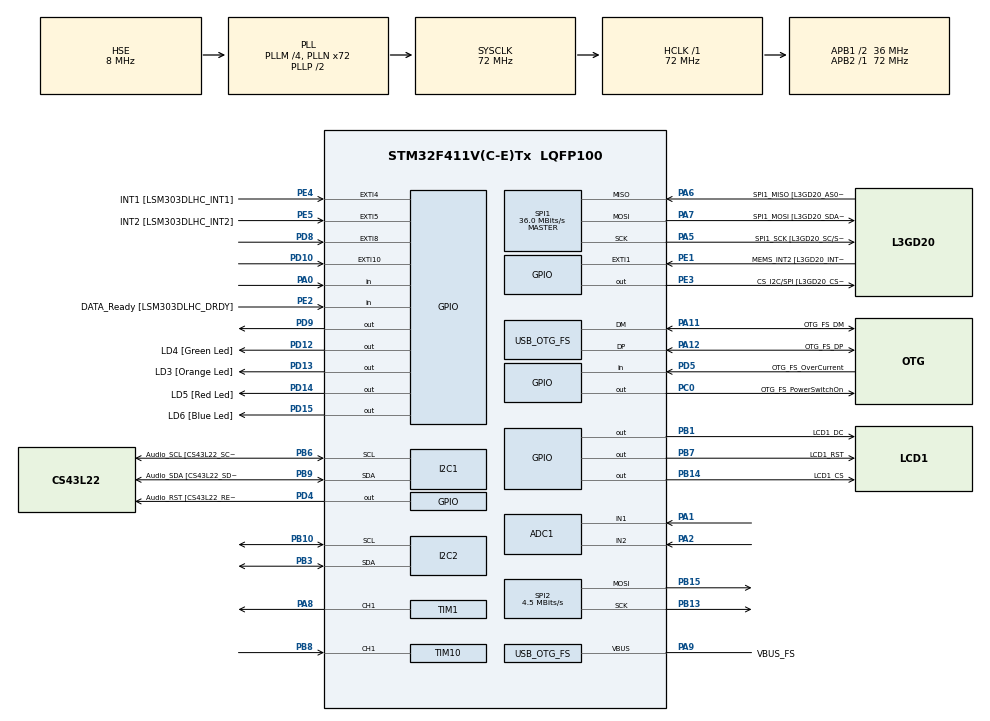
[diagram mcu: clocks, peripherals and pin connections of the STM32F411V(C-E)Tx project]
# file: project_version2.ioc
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ADC1.Channel-0\#ChannelRegularConversion=ADC_CHANNEL_1
ADC1.Channel-1\#ChannelRegularConversion=ADC_CHANNEL_2
ADC1.ContinuousConvMode=ENABLE
ADC1.NbrOfConversion=2
ADC1.NbrOfConversionFlag=1
ADC1.Rank-0\#ChannelRegularConversion=1
ADC1.Rank-1\#ChannelRegularConversion=2
ADC1.SamplingTime-0\#ChannelRegularConversion=ADC_SAMPLETIME_480CYCLES
ADC1.SamplingTime-1\#ChannelRegularConversion=ADC_SAMPLETIME_480CYCLES
ADC1.master=1
Dma.ADC1.1.Direction=DMA_PERIPH_TO_MEMORY
Dma.ADC1.1.FIFOMode=DMA_FIFOMODE_DISABLE
Dma.ADC1.1.Instance=DMA2_Stream0
Dma.ADC1.1.MemDataAlignment=DMA_MDATAALIGN_WORD
Dma.ADC1.1.MemInc=DMA_MINC_ENABLE
Dma.ADC1.1.Mode=DMA_CIRCULAR
Dma.ADC1.1.PeriphDataAlignment=DMA_PDATAALIGN_WORD
Dma.ADC1.1.PeriphInc=DMA_PINC_DISABLE
Dma.ADC1.1.Priority=DMA_PRIORITY_LOW
Dma.Request0=TIM1_CH1
Dma.Request1=ADC1
Dma.TIM1_CH1.0.Direction=DMA_MEMORY_TO_PERIPH
Dma.TIM1_CH1.0.FIFOMode=DMA_FIFOMODE_DISABLE
Dma.TIM1_CH1.0.Instance=DMA2_Stream1
Dma.TIM1_CH1.0.MemDataAlignment=DMA_MDATAALIGN_HALFWORD
Dma.TIM1_CH1.0.MemInc=DMA_MINC_ENABLE
Dma.TIM1_CH1.0.Mode=DMA_NORMAL
Dma.TIM1_CH1.0.PeriphDataAlignment=DMA_PDATAALIGN_HALFWORD
Dma.TIM1_CH1.0.PeriphInc=DMA_PINC_DISABLE
Dma.TIM1_CH1.0.Priority=DMA_PRIORITY_LOW
Mcu.Family=STM32F4
Mcu.Name=STM32F411V(C-E)Tx
Mcu.Package=LQFP100
NVIC.DMA2_Stream0_IRQn=true\:0\:0\:false\:false\:true\:false\:true
NVIC.DMA2_Stream1_IRQn=true\:0\:0\:false\:false\:true\:false\:true
NVIC.EXTI9_5_IRQn=true\:0\:0\:false\:false\:true\:true\:true
NVIC.OTG_FS_IRQn=true\:0\:0\:false\:false\:true\:true\:true
NVIC.PriorityGroup=NVIC_PRIORITYGROUP_0
NVIC.TIM1_UP_TIM10_IRQn=true\:0\:0\:false\:false\:true\:true\:true
PA0-WKUP.Signal=GPIO_Input
PA1.Signal=ADCx_IN1
PA10.GPIO_Label=OTG_FS_ID
PA10.Signal=USB_OTG_FS_ID
PA11.GPIO_Label=OTG_FS_DM
PA11.Mode=Host_Only
PA11.Signal=USB_OTG_FS_DM
PA12.GPIO_Label=OTG_FS_DP
PA12.Mode=Host_Only
PA12.Signal=USB_OTG_FS_DP
PA13.GPIO_Label=SWDIO
PA13.Mode=Serial_Wire
PA13.Signal=SYS_JTMS-SWDIO
PA14.GPIO_Label=SWCLK
PA14.Mode=Serial_Wire
PA14.Signal=SYS_JTCK-SWCLK
PA2.Signal=ADCx_IN2
PA4.GPIO_Label=I2S3_WS [CS43L22_LRCK]
PA4.GPIO_Mode=GPIO_MODE_AF_PP
PA4.GPIO_PuPd=GPIO_NOPULL
PA4.GPIO_Speed=GPIO_SPEED_FREQ_LOW
PA4.Signal=I2S3_WS
PA5.GPIO_Label=SPI1_SCK [L3GD20_SC/SPC]
PA5.Mode=Full_Duplex_Master
PA5.Signal=SPI1_SCK
PA6.GPIO_Label=SPI1_MISO [L3GD20_AS0/SDO]
PA6.Mode=Full_Duplex_Master
PA6.Signal=SPI1_MISO
PA7.GPIO_Label=SPI1_MOSI [L3GD20_SDA/SDI/SDO]
PA7.Mode=Full_Duplex_Master
PA7.Signal=SPI1_MOSI
PA8.Signal=S_TIM1_CH1
PA9.GPIO_Label=VBUS_FS
PA9.Mode=Activate_VBUS
PA9.Signal=USB_OTG_FS_VBUS
PB1.GPIO_Label=LCD1_DC
PB1.Signal=GPIO_Output
PB10.Mode=I2C
PB10.Signal=I2C2_SCL
PB13.Mode=TX_Only_Simplex_Unidirect_Master
PB13.Signal=SPI2_SCK
PB14.GPIO_Label=LCD1_CS
PB14.Signal=GPIO_Output
PB15.Mode=TX_Only_Simplex_Unidirect_Master
PB15.Signal=SPI2_MOSI
PB3.Mode=I2C
PB3.Signal=I2C2_SDA
PB6.GPIO_Label=Audio_SCL [CS43L22_SCL]
PB6.GPIO_Mode=GPIO_MODE_AF_OD
PB6.GPIO_Pu=GPIO_PULLUP
PB6.GPIO_PuPd=GPIO_NOPULL
PB6.GPIO_Speed=GPIO_SPEED_FREQ_LOW
PB6.Mode=I2C
PB6.Signal=I2C1_SCL
PB7.GPIO_Label=LCD1_RST
PB7.Signal=GPIO_Output
PB8.Signal=S_TIM10_CH1
PB9.GPIO_Label=Audio_SDA [CS43L22_SDA]
PB9.GPIO_Mode=GPIO_MODE_AF_OD
PB9.GPIO_Pu=GPIO_PULLUP
PB9.GPIO_PuPd=GPIO_NOPULL
PB9.GPIO_Speed=GPIO_SPEED_FREQ_LOW
PB9.Mode=I2C
PB9.Signal=I2C1_SDA
PC0.GPIO_Label=OTG_FS_PowerSwitchOn
PC0.PinState=GPIO_PIN_SET
PC0.Signal=GPIO_Output
PC10.GPIO_Label=I2S3_SCK [CS43L22_SCLK]
PC10.GPIO_Mode=GPIO_MODE_AF_PP
PC10.GPIO_PuPd=GPIO_NOPULL
PC10.GPIO_Speed=GPIO_SPEED_FREQ_LOW
PC10.Signal=I2S3_CK
PC12.GPIO_Label=I2S3_SD [CS43L22_SDIN]
PC12.GPIO_Mode=GPIO_MODE_AF_PP
PC12.GPIO_PuPd=GPIO_NOPULL
PC12.GPIO_Speed=GPIO_SPEED_FREQ_LOW
PC12.Signal=I2S3_SD
PC14-OSC32_IN.GPIO_Label=PC14-OSC32_IN
PC14-OSC32_IN.Mode=LSE-External-Oscillator
PC14-OSC32_IN.Signal=RCC_OSC32_IN
PC15-OSC32_OUT.GPIO_Label=PC15-OSC32_OUT
PC15-OSC32_OUT.Mode=LSE-External-Oscillator
PC15-OSC32_OUT.Signal=RCC_OSC32_OUT
PC3.GPIO_Label=PDM_OUT [MP45DT02_DOUT]
PC3.Signal=I2S2_SD
PC7.GPIO_Label=I2S3_MCK [CS43L22_MCLK]
PC7.GPIO_Mode=GPIO_MODE_AF_PP
PC7.GPIO_PuPd=GPIO_NOPULL
PC7.GPIO_Speed=GPIO_SPEED_FREQ_LOW
PC7.Signal=I2S3_MCK
PD10.Signal=GPXTI10
PD12.GPIO_Label=LD4 [Green Led]
PD12.GPIO_PuPd=GPIO_NOPULL
PD12.GPIO_Speed=GPIO_SPEED_FREQ_LOW
PD12.Signal=GPIO_Output
PD13.GPIO_Label=LD3 [Orange Led]
PD13.GPIO_PuPd=GPIO_NOPULL
PD13.GPIO_Speed=GPIO_SPEED_FREQ_LOW
PD13.Signal=GPIO_Output
PD14.GPIO_Label=LD5 [Red Led]
PD14.GPIO_PuPd=GPIO_NOPULL
PD14.GPIO_Speed=GPIO_SPEED_FREQ_LOW
PD14.Signal=GPIO_Output
PD15.GPIO_Label=LD6 [Blue Led]
PD15.GPIO_PuPd=GPIO_NOPULL
PD15.GPIO_Speed=GPIO_SPEED_FREQ_LOW
PD15.Signal=GPIO_Output
PD4.GPIO_Label=Audio_RST [CS43L22_RESET]
PD4.Signal=GPIO_Output
PD5.GPIO_Label=OTG_FS_OverCurrent
PD5.Signal=GPIO_Input
PD8.Signal=GPXTI8
PD9.Signal=GPIO_Output
PE1.GPIO_Label=MEMS_INT2 [L3GD20_INT2]
PE1.GPIO_ModeDefaultEXTI=GPIO_MODE_EVT_RISING
PE1.Signal=GPXTI1
PE2.GPIO_Label=DATA_Ready [LSM303DLHC_DRDY]
PE2.Signal=GPIO_Input
PE3.GPIO_Label=CS_I2C/SPI [L3GD20_CS_I2C/SPI]
PE3.Signal=GPIO_Output
PE4.GPIO_Label=INT1 [LSM303DLHC_INT1]
PE4.GPIO_ModeDefaultEXTI=GPIO_MODE_EVT_RISING
PE4.Signal=GPXTI4
PE5.GPIO_Label=INT2 [LSM303DLHC_INT2]
PE5.GPIO_ModeDefaultEXTI=GPIO_MODE_EVT_RISING
PE5.Signal=GPXTI5
PH0\ -\ OSC_IN.GPIO_Label=PH0-OSC_IN
PH0\ -\ OSC_IN.Mode=HSE-External-Oscillator
PH0\ -\ OSC_IN.Signal=RCC_OSC_IN
PH1\ -\ OSC_OUT.GPIO_Label=PH1-OSC_OUT
PH1\ -\ OSC_OUT.Mode=HSE-External-Oscillator
PH1\ -\ OSC_OUT.Signal=RCC_OSC_OUT
ProjectManager.HeapSize=0x200
ProjectManager.StackSize=0x400
ProjectManager.TargetToolchain=STM32CubeIDE
RCC.48MHZClocksFreq_Value=48000000
RCC.AHBFreq_Value=72000000
RCC.APB1CLKDivider=RCC_HCLK_DIV2
RCC.APB1Freq_Value=36000000
RCC.APB1TimFreq_Value=72000000
RCC.APB2Freq_Value=72000000
RCC.APB2TimFreq_Value=72000000
RCC.CortexFreq_Value=72000000
RCC.HCLKFreq_Value=72000000
RCC.HSE_VALUE=8000000
RCC.HSI_VALUE=16000000
RCC.PLLI2SM=5
RCC.PLLI2SN=200
RCC.PLLM=4
RCC.PLLN=72
RCC.PLLQ=3
RCC.SYSCLKFreq_VALUE=72000000
RCC.SYSCLKSource=RCC_SYSCLKSOURCE_PLLCLK
RCC.VCOOutputFreq_Value=144000000
SH.ADCx_IN1.0=ADC1_IN1,IN1
SH.ADCx_IN2.0=ADC1_IN2,IN2
SH.S_TIM10_CH1.0=TIM10_CH1,Input_Capture1_from_TI1
SH.S_TIM1_CH1.0=TIM1_CH1,PWM Generation1 CH1
SPI1.BaudRatePrescaler=SPI_BAUDRATEPRESCALER_2
SPI1.CalculateBaudRate=36.0 MBits/s
SPI1.Direction=SPI_DIRECTION_2LINES
SPI1.Mode=SPI_MODE_MASTER
SPI1.VirtualType=VM_MASTER
SPI2.BaudRatePrescaler=SPI_BAUDRATEPRESCALER_8
SPI2.CalculateBaudRate=4.5 MBits/s
SPI2.Direction=SPI_DIRECTION_2LINES
SPI2.Mode=SPI_MODE_MASTER
SPI2.VirtualType=VM_MASTER
TIM1.Channel-PWM\ Generation1\ CH1=TIM_CHANNEL_1
TIM1.Period=90-1
TIM10.Channel=TIM_CHANNEL_1
TIM10.Prescaler=71
USB_HOST.BSP.number=1
USB_HOST.USBH_HandleTypeDef=hUsbHostFS
USB_HOST.VirtualModeFS=Cdc
USB_HOST0.BSP.STBoard=false
USB_HOST0.BSP.api=Unknown
USB_HOST0.BSP.i2caddr=0
USB_HOST0.BSP.i2creg=0
USB_HOST0.BSP.instance=PC0
USB_HOST0.BSP.ip=GPIO
USB_HOST0.BSP.mode=Output
USB_HOST0.BSP.name=Drive_VBUS_FS
USB_HOST0.BSP.solution=PC0
USB_OTG_FS.VirtualMode=Host_Only
USB_OTG_FS.phy_itface=HCD_PHY_EMBEDDED
VP_TIM10_VS_ClockSourceINT.Mode=Enable_Timer
VP_TIM1_VS_ClockSourceINT.Mode=Internal
VP_USB_HOST_VS_USB_HOST_CDC_FS.Mode=CDC_FS
board=STM32F411E-DISCO

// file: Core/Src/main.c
/* USER CODE BEGIN Header */
/**
  ******************************************************************************
  * @file           : main.c
  * @brief          : Main program body
  ******************************************************************************
  * @attention
  *
  * <h2><center>&copy; Copyright (c) 2021 STMicroelectronics.
  * All rights reserved.</center></h2>
  *
  * This software component is licensed by ST under Ultimate Liberty license
  * SLA0044, the "License"; You may not use this file except in compliance with
  * the License. You may obtain a copy of the License at:
  *                             www.st.com/SLA0044
  *
  ******************************************************************************
  */
/* USER CODE END Header */
#include "main.h"
#include "adc.h"
#include "dma.h"
#include "i2c.h"
#include "spi.h"
#include "tim.h"
#include "usb_host.h"
#include "gpio.h"

/* USER CODE BEGIN Includes */
#include "math.h"
#include <stdbool.h>
#include "lcd5110.h"
#include "stm32f411e_discovery_accelerometer.h"
#include "stm32f411e_discovery_gyroscope.h"
#include "stm32f411e_discovery.h"

/* USER CODE END Includes */

void SystemClock_Config(void);
void MX_USB_HOST_Process(void);

/* USER CODE BEGIN PFP */
volatile int fall_down = 0;
volatile int light = 0;
volatile int pressed = 0;
volatile int button_is_pressed = 0;
volatile int loop_counter = 0;
/* USER CODE END PFP */

/* USER CODE BEGIN 0 */
#define MAX_LED 30
#define USE_BRIGHTNESS 0
#define ACCEL_ERROR 0.26; // to calibrate another accelerometer

// bounds when turn lights trigger
#define RX_ACTIVE_BOUND 0.82
#define RZ_ACTIVE_BOUND 0.82
#define LX_ACTIVE_BOUND 0.82
#define LZ_ACTIVE_BOUND 0.82

// accelerometer register map
#define MPU6050_ADDR 0xD0
#define SMPLRT_DIV_REG 0x19
#define GYRO_CONFIG_REG 0x1B
#define ACCEL_CONFIG_REG 0x1C
#define ACCEL_XOUT_H_REG 0x3B
#define TEMP_OUT_H_REG 0x41
#define GYRO_XOUT_H_REG 0x43
#define PWR_MGMT_1_REG 0x6B
#define WHO_AM_I_REG 0x75

LCD5110_display lcd1;
volatile uint32_t tim10_overflows = 0;

// final accelerometers results
volatile float Rx, Ry, Rz;
volatile float Lx, Ly, Lz;

// stm internal accelerometer measures
double Fall_Down_X = 0;
double Fall_Down_Y = 0;
double Fall_Down_Z = 0;

int datasentflag=0;
uint8_t LED_Data[MAX_LED][4];
uint8_t LED_Mod[MAX_LED][4];

int16_t Accel_X_RAW_R = 0;
int16_t Accel_Y_RAW_R = 0;
int16_t Accel_Z_RAW_R = 0;

int16_t Accel_X_RAW_L = 0;
int16_t Accel_Y_RAW_L = 0;
int16_t Accel_Z_RAW_L = 0;

void HAL_GPIO_EXTI_Callback(uint16_t GPIO_Pin) {
 if (GPIO_Pin == GPIO_PIN_8) { // button on the case handling

  static uint32_t last_change_tick;
  if (HAL_GetTick() - last_change_tick < 50) {
	  return;
  }

  last_change_tick = HAL_GetTick();

  if (fall_down == 0) {
	  if (button_is_pressed) {

		  button_is_pressed = 0;
		  ++pressed;
		  if (light == -1) {
			  light = 0;
		  } else {
			  light = -1;
		  }
	  } else {
		  button_is_pressed = 1;
	  }
  }

  if (fall_down) {
	  fall_down = 0;
  }
 }
}

void HAL_TIM_PeriodElapsedCallback(TIM_HandleTypeDef *htim) {
  if (htim -> Instance == TIM10) {
	  // read accelerometers on timer tick
	  MPU6050_Read_Accel_L(); // LEFT hand accelerometer
	  MPU6050_Read_Accel_R(); // RIGHT hand accelerometer
	  show_accelerometer(); // inner accelerometer
  }
}

static inline void TIM10_reinit() {
	HAL_TIM_Base_Stop(&htim10);
	__HAL_TIM_SET_COUNTER( &htim10, 0 );
	tim10_overflows = 0;
	HAL_TIM_Base_Start_IT(&htim10);
}

static inline uint32_t get_tim10_us() {
	__HAL_TIM_DISABLE_IT(&htim10, TIM_IT_UPDATE);
	uint32_t res = tim10_overflows * 10000 + __HAL_TIM_GET_COUNTER(&htim10);
	__HAL_TIM_ENABLE_IT(&htim10, TIM_IT_UPDATE);
	return res;
}

static inline void udelay_TIM10(uint32_t useconds) {
	uint32_t before = get_tim10_us();

	while( get_tim10_us() < before+useconds){}
}

void HAL_TIM_PWM_PulseFinishedCallback(TIM_HandleTypeDef *htim) {  // callback when dma finished data transfering

	HAL_TIM_PWM_Stop_DMA(&htim1, TIM_CHANNEL_1);  // stop dma, when data transfering has finished
	datasentflag = 1;
}

void Set_LED (int LEDnum, int Red, int Green, int Blue) {
	LED_Data[LEDnum][0] = LEDnum;
	LED_Data[LEDnum][1] = Green;
	LED_Data[LEDnum][2] = Red;
	LED_Data[LEDnum][3] = Blue;
}

uint16_t pwmData[(24*MAX_LED)+50]; // 24 bits leds + 50 eset code

void WS2812_Send (void) {

	uint32_t indx=0;
	uint32_t color;

	for (int i = 0; i < MAX_LED; i++) {

		#if USE_BRIGHTNESS
		color = ((LED_Mod[i][1]<<16) | (LED_Mod[i][2]<<8) | (LED_Mod[i][3]));
		#else
		color = ((LED_Data[i][1]<<16) | (LED_Data[i][2]<<8) | (LED_Data[i][3]));
		#endif

		for (int i = 23; i >= 0; i--) {

			if (color&(1 << i)) {
				pwmData[indx] = 57; // duty cycle is 64% from datasheet
			}

			else pwmData[indx] = 28;  // if the bit is 0, the duty cycle is 32%
			indx++;
		}
	}

	for (int i = 0; i < 50; i++) { // reset code
		pwmData[indx] = 0;
		indx++;
	}

	HAL_TIM_PWM_Start_DMA(&htim1, TIM_CHANNEL_1, (uint32_t *)pwmData, indx);  // send to dma

	while (!datasentflag){};  // set flag when data has been transmitted
	datasentflag = 0;
}

void MPU6050_Init_L(void) {
	/*** Code provided by© Controllerstech ****/

	uint8_t check;
	uint8_t Data;

	HAL_I2C_Mem_Read (&hi2c1, MPU6050_ADDR,WHO_AM_I_REG,1, &check, 1, 1000);

	if (check == 104) { // 0x68 will be returned by the sensor if everything goes well
    // power management register 0X6B we should write all 0's to wake the sensor up
		Data = 0;
		HAL_I2C_Mem_Write(&hi2c1, MPU6050_ADDR, PWR_MGMT_1_REG, 1,&Data, 1, 1000);

    // Set DATA RATE of 1KHz by writing SMPLRT_DIV register
		Data = 0x07;
		HAL_I2C_Mem_Write(&hi2c1, MPU6050_ADDR, SMPLRT_DIV_REG, 1, &Data, 1, 1000);

    // Set accelerometer configuration in ACCEL_CONFIG Register
    // XA_ST=0,YA_ST=0,ZA_ST=0, FS_SEL=0 -> � 2g
		Data = 0x00;
    	HAL_I2C_Mem_Write(&hi2c1, MPU6050_ADDR, ACCEL_CONFIG_REG, 1, &Data, 1, 1000);

    // Set Gyroscopic configuration in GYRO_CONFIG Register
    // XG_ST=0,YG_ST=0,ZG_ST=0, FS_SEL=0 -> � 250 �/s
    	Data = 0x00;
    	HAL_I2C_Mem_Write(&hi2c1, MPU6050_ADDR, GYRO_CONFIG_REG, 1, &Data, 1, 1000);
	}
}

void MPU6050_Init_R(void) {
	/*** Code provided by© Controllerstech ****/

	uint8_t check;
	uint8_t Data;

	HAL_I2C_Mem_Read (&hi2c2, MPU6050_ADDR,WHO_AM_I_REG,1, &check, 1, 1000);

	if (check == 104) {
		Data = 0;
		HAL_I2C_Mem_Write(&hi2c2, MPU6050_ADDR, PWR_MGMT_1_REG, 1,&Data, 1, 1000);

		Data = 0x07;
		HAL_I2C_Mem_Write(&hi2c2, MPU6050_ADDR, SMPLRT_DIV_REG, 1, &Data, 1, 1000);

		Data = 0x00;
    	HAL_I2C_Mem_Write(&hi2c2, MPU6050_ADDR, ACCEL_CONFIG_REG, 1, &Data, 1, 1000);

    	Data = 0x00;
    	HAL_I2C_Mem_Write(&hi2c2, MPU6050_ADDR, GYRO_CONFIG_REG, 1, &Data, 1, 1000);
	}
}

void MPU6050_Read_Accel_L (void) {
	/*** Code provided by© Controllerstech ****/

	uint8_t Rec_Data[6];

	// Read 6 BYTES of data starting from ACCEL_XOUT_H register

	HAL_I2C_Mem_Read (&hi2c1, MPU6050_ADDR, ACCEL_XOUT_H_REG, 1, Rec_Data, 6, 1000);

	Accel_X_RAW_L = (int16_t)(Rec_Data[0] << 8 | Rec_Data [1]);
	Accel_Y_RAW_L = (int16_t)(Rec_Data[2] << 8 | Rec_Data [3]);
	Accel_Z_RAW_L = (int16_t)(Rec_Data[4] << 8 | Rec_Data [5]);

	/*** convert the RAW values into acceleration in 'g'
       we have to divide according to the Full scale value set in FS_SEL
       I have configured FS_SEL = 0. So I am dividing by 16384.0
       for more details check ACCEL_CONFIG Register              ****/

	Lx = Accel_X_RAW_L/16384.0;
	Ly = Accel_Y_RAW_L/16384.0;
	Lz = (Accel_Z_RAW_L/16384.0) + ACCEL_ERROR;
}

void MPU6050_Read_Accel_R (void) {
	/*** Code provided by© Controllerstech ****/

	uint8_t Rec_Data[6];

	HAL_I2C_Mem_Read (&hi2c2, MPU6050_ADDR, ACCEL_XOUT_H_REG, 1, Rec_Data, 6, 1000);

	Accel_X_RAW_R = (int16_t)(Rec_Data[0] << 8 | Rec_Data [1]);
	Accel_Y_RAW_R = (int16_t)(Rec_Data[2] << 8 | Rec_Data [3]);
	Accel_Z_RAW_R = (int16_t)(Rec_Data[4] << 8 | Rec_Data [5]);

	Rx = Accel_X_RAW_R/16384.0;
	Ry = Accel_Y_RAW_R/16384.0;
	Rz = Accel_Z_RAW_R/16384.0;
}

int16_t buffer[3] = {0};

void show_accelerometer(void) {

  BSP_ACCELERO_GetXYZ(buffer);
	Fall_Down_X = (buffer[0]/16)/1000.0;
	Fall_Down_Y = (double)(buffer[1]/16)/1000.0;
	Fall_Down_Z = (double)(buffer[2]/16)/1000.0;

  if (fabs(Fall_Down_Z) > 0.85 ||  fabs(Fall_Down_X) > 0.8) {
	  fall_down = 1;
  }
}

void attention_signal() {
	  for (int i = 0; i < 30; i++) {
		  Set_LED(i, 139, 0, 0);
	  }

	  WS2812_Send();
	  HAL_Delay(700);

	  for (int i = 0; i < 30; i++) {
		  Set_LED(i, 0, 0, 0);
	  }

	  WS2812_Send();
	  HAL_Delay(550);
};

void turn_signal (int direction) {
	  int mid = MAX_LED / 2;

	  if (direction == -1) {
		  for (int i = mid; i >= 0; i--) {
			  Set_LED(i, 255, 69, 0);
			  WS2812_Send();
			  HAL_Delay(30);
		  }
	  }

	  if (direction == 1) {
		  for (int i = mid; i < MAX_LED; i++) {
			  Set_LED(i, 255, 69, 0);
			  WS2812_Send();
			  HAL_Delay(30);
		  }
	  }

	 for (int i = 0; i < MAX_LED; i++) {
		 Set_LED(i, 0, 0, 0);
	 }

	 HAL_Delay(120);
	 WS2812_Send();
};

void warning_signal() {
	  int mid = MAX_LED / 2;

	  for (int i = 0; i <= mid; i++) {
		  Set_LED(mid + i, 255, 69, 0);
		  Set_LED(mid - i, 255, 69, 0);
		  WS2812_Send();
		  HAL_Delay(30);
	  }

	 for (int i = 0; i < MAX_LED; i++) {
	 	Set_LED(i, 0, 0, 0);
	 }

	  HAL_GPIO_WritePin(GPIOD, GPIO_PIN_9, GPIO_PIN_SET);
	  HAL_GPIO_WritePin(GPIOD, GPIO_PIN_12, GPIO_PIN_SET);

	 HAL_Delay(120);
	  HAL_GPIO_WritePin(GPIOD, GPIO_PIN_9, GPIO_PIN_RESET);
	  HAL_GPIO_WritePin(GPIOD, GPIO_PIN_12, GPIO_PIN_RESET);

	 WS2812_Send();
};
/* USER CODE END 0 */

int main(void)
{

  /* MCU Configuration--------------------------------------------------------*/

  /* Reset of all peripherals, Initializes the Flash interface and the Systick. */
  HAL_Init();

  /* Configure the system clock */
  SystemClock_Config();

  /* Initialize all configured peripherals */
  MX_GPIO_Init();
  MX_I2C1_Init();
  MX_SPI1_Init();
  MX_DMA_Init();
  MX_USB_HOST_Init();
  MX_TIM1_Init();
  MX_ADC1_Init();
  MX_SPI2_Init();
  MX_TIM10_Init();
  MX_I2C2_Init();
  /* USER CODE BEGIN 2 */

  lcd1.hw_conf.spi_handle = &hspi2;
  lcd1.hw_conf.spi_cs_pin =  LCD1_CS_Pin;
  lcd1.hw_conf.spi_cs_port = LCD1_CS_GPIO_Port;
  lcd1.hw_conf.rst_pin =  LCD1_RST_Pin;
  lcd1.hw_conf.rst_port = LCD1_RST_GPIO_Port;
  lcd1.hw_conf.dc_pin =  LCD1_DC_Pin;
  lcd1.hw_conf.dc_port = LCD1_DC_GPIO_Port;
  lcd1.def_scr = lcd5110_def_scr;
  LCD5110_init(&lcd1.hw_conf, LCD5110_NORMAL_MODE, 0x40, 2, 3);

  if (BSP_ACCELERO_Init() != HAL_OK) {
    /* Initialization Error */
	  LCD5110_print("Error initializing HAL.", BLACK, &lcd1);
	  while(1){}
  }

  if (BSP_GYRO_Init() != HAL_OK) {
	  /* Initialization Error */
	  LCD5110_print("Error initializing HAL.", BLACK, &lcd1);
	  while(1){}
  }

  /* USER CODE END 2 */

  /* Infinite loop */
  /* USER CODE BEGIN WHILE */

  MPU6050_Init_L();
//  MPU6050_Init_R();
  TIM10_reinit();

  while (1)
  {
	  if ((Lz > LZ_ACTIVE_BOUND || Rx > RX_ACTIVE_BOUND) & fall_down == 0) { // conditions for left turn
		  turn_signal(1);
	  } else if ((Rz > RZ_ACTIVE_BOUND || Lx > LX_ACTIVE_BOUND) & fall_down == 0) { // conditions for right turn
		  turn_signal(-1);
		} else if (button_is_pressed) { // turn on warning signal on button click
			warning_signal();
		} else if (fall_down) { // turn on warning signal if user fell down
			warning_signal();
		}
	  else {
			attention_signal(); // standard attention blinking in rest position
		}

    /* USER CODE END WHILE */
    MX_USB_HOST_Process();

  }
}

void SystemClock_Config(void)
{
  RCC_OscInitTypeDef RCC_OscInitStruct = {0};
  RCC_ClkInitTypeDef RCC_ClkInitStruct = {0};

  /** Configure the main internal regulator output voltage
  */
  __HAL_RCC_PWR_CLK_ENABLE();
  __HAL_PWR_VOLTAGESCALING_CONFIG(PWR_REGULATOR_VOLTAGE_SCALE1);
  /** Initializes the RCC Oscillators according to the specified parameters
  * in the RCC_OscInitTypeDef structure.
  */
  RCC_OscInitStruct.OscillatorType = RCC_OSCILLATORTYPE_HSE;
  RCC_OscInitStruct.HSEState = RCC_HSE_ON;
  RCC_OscInitStruct.PLL.PLLState = RCC_PLL_ON;
  RCC_OscInitStruct.PLL.PLLSource = RCC_PLLSOURCE_HSE;
  RCC_OscInitStruct.PLL.PLLM = 4;
  RCC_OscInitStruct.PLL.PLLN = 72;
  RCC_OscInitStruct.PLL.PLLP = RCC_PLLP_DIV2;
  RCC_OscInitStruct.PLL.PLLQ = 3;
  if (HAL_RCC_OscConfig(&RCC_OscInitStruct) != HAL_OK)
  {
    Error_Handler();
  }
  /** Initializes the CPU, AHB and APB buses clocks
  */
  RCC_ClkInitStruct.ClockType = RCC_CLOCKTYPE_HCLK|RCC_CLOCKTYPE_SYSCLK
                              |RCC_CLOCKTYPE_PCLK1|RCC_CLOCKTYPE_PCLK2;
  RCC_ClkInitStruct.SYSCLKSource = RCC_SYSCLKSOURCE_PLLCLK;
  RCC_ClkInitStruct.AHBCLKDivider = RCC_SYSCLK_DIV1;
  RCC_ClkInitStruct.APB1CLKDivider = RCC_HCLK_DIV2;
  RCC_ClkInitStruct.APB2CLKDivider = RCC_HCLK_DIV1;

  if (HAL_RCC_ClockConfig(&RCC_ClkInitStruct, FLASH_LATENCY_2) != HAL_OK)
  {
    Error_Handler();
  }
}

void Error_Handler(void)
{
  __disable_irq();
  while (1)
  {
  }
}

/************************ (C) COPYRIGHT STMicroelectronics *****END OF FILE****/
